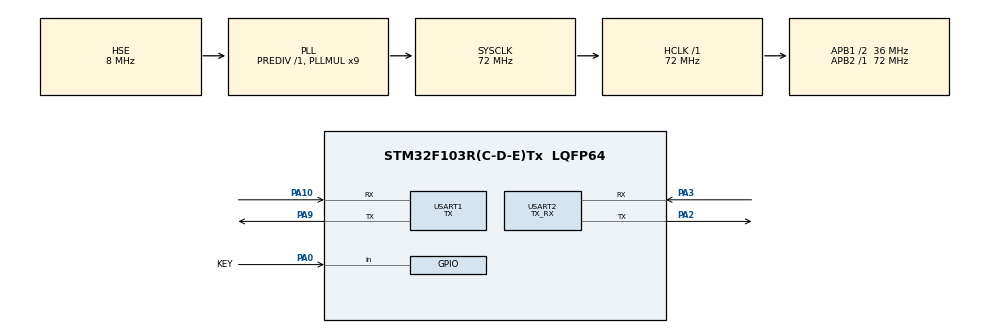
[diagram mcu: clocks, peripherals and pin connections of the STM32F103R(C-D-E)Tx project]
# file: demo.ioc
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Mcu.Family=STM32F1
Mcu.Name=STM32F103R(C-D-E)Tx
Mcu.Package=LQFP64
NVIC.PriorityGroup=NVIC_PRIORITYGROUP_4
NVIC.TIM3_IRQn=true\:2\:0\:true\:false\:true\:true\:true\:true
NVIC.USART1_IRQn=true\:0\:0\:false\:false\:true\:true\:true\:true
PA0-WKUP.GPIO_Label=KEY
PA0-WKUP.GPIO_PuPd=GPIO_PULLDOWN
PA0-WKUP.Signal=GPIO_Input
PA10.Mode=Asynchronous
PA10.Signal=USART1_RX
PA13.Mode=Serial_Wire
PA13.Signal=SYS_JTMS-SWDIO
PA14.Mode=Serial_Wire
PA14.Signal=SYS_JTCK-SWCLK
PA2.Mode=Asynchronous
PA2.Signal=USART2_TX
PA3.Mode=Asynchronous
PA3.Signal=USART2_RX
PA9.Mode=Asynchronous
PA9.Signal=USART1_TX
PD0-OSC_IN.Mode=HSE-External-Oscillator
PD0-OSC_IN.Signal=RCC_OSC_IN
PD1-OSC_OUT.Mode=HSE-External-Oscillator
PD1-OSC_OUT.Signal=RCC_OSC_OUT
ProjectManager.HeapSize=0x200
ProjectManager.StackSize=0x400
ProjectManager.TargetToolchain=MDK-ARM V5
RCC.AHBFreq_Value=72000000
RCC.APB1CLKDivider=RCC_HCLK_DIV2
RCC.APB1Freq_Value=36000000
RCC.APB1TimFreq_Value=72000000
RCC.APB2Freq_Value=72000000
RCC.APB2TimFreq_Value=72000000
RCC.HCLKFreq_Value=72000000
RCC.PLLMUL=RCC_PLL_MUL9
RCC.PLLSourceVirtual=RCC_PLLSOURCE_HSE
RCC.SYSCLKFreq_VALUE=72000000
RCC.SYSCLKSource=RCC_SYSCLKSOURCE_PLLCLK
RCC.USBFreq_Value=72000000
TIM3.AutoReloadPreload=TIM_AUTORELOAD_PRELOAD_ENABLE
TIM3.Period=5000-1
TIM3.Prescaler=72-1
USART1.Mode=MODE_TX
USART1.VirtualMode=VM_ASYNC
USART2.Mode=MODE_TX_RX
USART2.VirtualMode=VM_ASYNC
VP_TIM3_VS_ClockSourceINT.Mode=Internal
board=custom

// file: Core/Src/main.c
/* USER CODE BEGIN Header */
/**
 ******************************************************************************
 * @file           : main.c
 * @brief          : Main program body
 ******************************************************************************
 * @attention
 *
 * <h2><center>&copy; Copyright (c) 2022 STMicroelectronics.
 * All rights reserved.</center></h2>
 *
 * This software component is licensed by ST under BSD 3-Clause license,
 * the "License"; You may not use this file except in compliance with the
 * License. You may obtain a copy of the License at:
 *                        opensource.org/licenses/BSD-3-Clause
 *
 ******************************************************************************
 */
/* USER CODE END Header */
#include "main.h"
#include "tim.h"
#include "usart.h"
#include "gpio.h"

/* USER CODE BEGIN Includes */
#include "swtimer/swtimer.h"
/* USER CODE END Includes */

void SystemClock_Config(void);

/* USER CODE BEGIN 0 */

void HAL_TIM_PeriodElapsedCallback(TIM_HandleTypeDef* htim) { timer_ticks(); }

void timer1_period_elapsed_callback(timer_t* timer)
{
    static uint8_t cnt = 0;
    printf("[%2d]%s\r\n", ++cnt, (const char*)(timer->user_data));
    if (cnt == 25) timer_stop(timer);
}

void timer2_period_elapsed_callback(timer_t* timer)
{
    static uint8_t cnt = 0;
    printf("[%2d]%s\r\n", ++cnt, (const char*)(timer->user_data));
    if (cnt == 50) timer_stop(timer);
}

/* USER CODE END 0 */

int main(void)
{

    /* MCU Configuration--------------------------------------------------------*/

    /* Reset of all peripherals, Initializes the Flash interface and the Systick. */
    HAL_Init();

    /* Configure the system clock */
    SystemClock_Config();

    /* Initialize all configured peripherals */
    MX_GPIO_Init();
    MX_USART1_UART_Init();
    MX_USART2_UART_Init();
    MX_TIM3_Init();
    /* USER CODE BEGIN 2 */

    timer_t timer1, timer2;

    timer_init(&timer1, 10, &timer1_period_elapsed_callback, "timer1");
    timer_init(&timer2, 15, &timer2_period_elapsed_callback, "timer2");

    timer_start(&timer2, 3);
    timer_start(&timer1, 33);

    HAL_TIM_Base_Start_IT(&htim3);

    /* USER CODE END 2 */

    /* Infinite loop */
    while (1) {

    }
}

void SystemClock_Config(void)
{
    RCC_OscInitTypeDef RCC_OscInitStruct = {0};
    RCC_ClkInitTypeDef RCC_ClkInitStruct = {0};

    /** Initializes the RCC Oscillators according to the specified parameters
     * in the RCC_OscInitTypeDef structure.
     */
    RCC_OscInitStruct.OscillatorType     = RCC_OSCILLATORTYPE_HSE;
    RCC_OscInitStruct.HSEState           = RCC_HSE_ON;
    RCC_OscInitStruct.HSEPredivValue     = RCC_HSE_PREDIV_DIV1;
    RCC_OscInitStruct.HSIState           = RCC_HSI_ON;
    RCC_OscInitStruct.PLL.PLLState       = RCC_PLL_ON;
    RCC_OscInitStruct.PLL.PLLSource      = RCC_PLLSOURCE_HSE;
    RCC_OscInitStruct.PLL.PLLMUL         = RCC_PLL_MUL9;
    if (HAL_RCC_OscConfig(&RCC_OscInitStruct) != HAL_OK) {
        Error_Handler();
    }

    /** Initializes the CPU, AHB and APB buses clocks
     */
    RCC_ClkInitStruct.ClockType      = RCC_CLOCKTYPE_HCLK | RCC_CLOCKTYPE_SYSCLK | RCC_CLOCKTYPE_PCLK1 | RCC_CLOCKTYPE_PCLK2;
    RCC_ClkInitStruct.SYSCLKSource   = RCC_SYSCLKSOURCE_PLLCLK;
    RCC_ClkInitStruct.AHBCLKDivider  = RCC_SYSCLK_DIV1;
    RCC_ClkInitStruct.APB1CLKDivider = RCC_HCLK_DIV2;
    RCC_ClkInitStruct.APB2CLKDivider = RCC_HCLK_DIV1;

    if (HAL_RCC_ClockConfig(&RCC_ClkInitStruct, FLASH_LATENCY_2) != HAL_OK) {
        Error_Handler();
    }
}

void Error_Handler(void)
{
}
